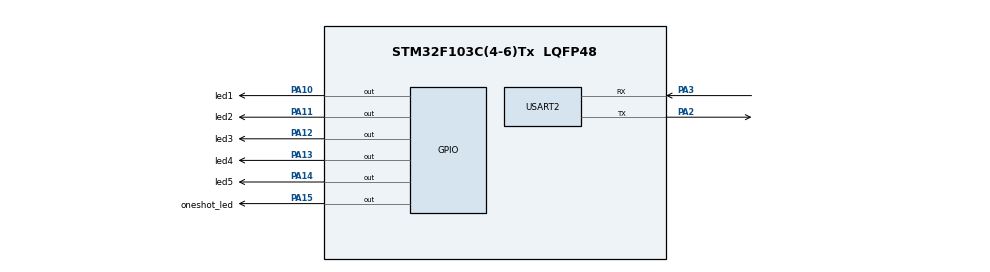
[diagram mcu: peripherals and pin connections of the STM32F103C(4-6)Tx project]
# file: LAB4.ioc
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Mcu.Family=STM32F1
Mcu.Name=STM32F103C(4-6)Tx
Mcu.Package=LQFP48
NVIC.PriorityGroup=NVIC_PRIORITYGROUP_4
NVIC.TIM2_IRQn=true\:0\:0\:false\:false\:true\:true\:true
NVIC.USART2_IRQn=true\:0\:0\:false\:false\:true\:true\:true
PA10.GPIO_Label=led1
PA10.Signal=GPIO_Output
PA11.GPIO_Label=led2
PA11.Signal=GPIO_Output
PA12.GPIO_Label=led3
PA12.Signal=GPIO_Output
PA13.GPIO_Label=led4
PA13.Signal=GPIO_Output
PA14.GPIO_Label=led5
PA14.Signal=GPIO_Output
PA15.GPIO_Label=oneshot_led
PA15.Signal=GPIO_Output
PA2.Mode=Asynchronous
PA2.Signal=USART2_TX
PA3.Mode=Asynchronous
PA3.Signal=USART2_RX
ProjectManager.HeapSize=0x200
ProjectManager.StackSize=0x400
ProjectManager.TargetToolchain=STM32CubeIDE
RCC.APB1Freq_Value=8000000
RCC.APB2Freq_Value=8000000
TIM2.Period=9
TIM2.Prescaler=7999
USART2.VirtualMode=VM_ASYNC
VP_SYS_VS_ND.Mode=No_Debug
VP_TIM2_VS_ClockSourceINT.Mode=Internal
board=custom

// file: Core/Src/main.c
/* USER CODE BEGIN Header */
/**
  ******************************************************************************
  * @file           : main.c
  * @brief          : Main program body
  ******************************************************************************
  * @attention
  *
  * <h2><center>&copy; Copyright (c) 2026 STMicroelectronics.
  * All rights reserved.</center></h2>
  *
  * This software component is licensed by ST under BSD 3-Clause license,
  * the "License"; You may not use this file except in compliance with the
  * License. You may obtain a copy of the License at:
  *                        opensource.org/licenses/BSD-3-Clause
  *
  ******************************************************************************
  */
/* USER CODE END Header */
#include "main.h"

/* USER CODE BEGIN Includes */
#include "scheduler.h"
#include <stdio.h>
/* USER CODE END Includes */

TIM_HandleTypeDef htim2;

UART_HandleTypeDef huart2;

void SystemClock_Config(void);
static void MX_GPIO_Init(void);
static void MX_TIM2_Init(void);
static void MX_USART2_UART_Init(void);

/* USER CODE BEGIN 0 */
//uint32_t id_to_delete = 0;

/* Retarget printf to UART2 */
#ifdef __GNUC__
#define PUTCHAR_PROTOTYPE int __io_putchar(int ch)
#else
#define PUTCHAR_PROTOTYPE int fputc(int ch, FILE *f)
#endif

PUTCHAR_PROTOTYPE
{
  HAL_UART_Transmit(&huart2, (uint8_t *)&ch, 1, HAL_MAX_DELAY);
  return ch;
}

/* in ra moi 10ms */
static void Task_10ms(void) {
    printf("[%lu ms] Tick 10ms\r\n", get_time());
}

/* Các hàm tác vụ định kỳ 0.5s đến 2.5s */
static void Task_0_5s(void) {
    HAL_GPIO_TogglePin(led1_GPIO_Port, led1_Pin);
    printf("[%lu ms] Task 0.5s running\r\n", get_time());
}

static void Task_1_0s(void) {
    HAL_GPIO_TogglePin(led2_GPIO_Port, led2_Pin);
    printf("[%lu ms] Task 1.0s running\r\n", get_time());
}

static void Task_1_5s(void) {
    HAL_GPIO_TogglePin(led1_GPIO_Port, led3_Pin);
    printf("[%lu ms] Task 1.5s running\r\n", get_time());
}

static void Task_2_0s(void) {
    HAL_GPIO_TogglePin(led2_GPIO_Port, led4_Pin);
    printf("[%lu ms] Task 2.0s running\r\n", get_time());
}

static void Task_2_5s(void) {
    HAL_GPIO_TogglePin(led1_GPIO_Port, led5_Pin);
    printf("[%lu ms] Task 2.5s running\r\n", get_time());
}

/* One-shot task */
static void Task_OneShot(void) {
	HAL_GPIO_TogglePin(led1_GPIO_Port, oneshot_led_Pin);
    printf("[%lu ms] --> ONE SHOT TASK TRIGGERED! <--\r\n", get_time());
}
/* USER CODE END 0 */

int main(void)
{

  /* MCU Configuration--------------------------------------------------------*/

  /* Reset of all peripherals, Initializes the Flash interface and the Systick. */
  HAL_Init();

  /* Configure the system clock */
  SystemClock_Config();

  /* Initialize all configured peripherals */
  MX_GPIO_Init();
  MX_TIM2_Init();
  MX_USART2_UART_Init();
  /* USER CODE BEGIN 2 */

  SCH_Init();
  printf("--- MCU SCHEDULER STARTING ---\r\n");
  SCH_Add_Task(Task_10ms, 0, 1);
  SCH_Add_Task(Task_0_5s, 50, 50);
  SCH_Add_Task(Task_1_0s, 100, 100);
  SCH_Add_Task(Task_1_5s, 150, 150);
  SCH_Add_Task(Task_2_0s, 200, 200);
  SCH_Add_Task(Task_2_5s, 250, 250);
  SCH_Add_Task(Task_OneShot, 300, 0);
  HAL_TIM_Base_Start_IT(&htim2);                     /* Bắt đầu kích hoạt Timer ngắt 10ms */
  /* USER CODE END 2 */

  /* Infinite loop */
  /* USER CODE BEGIN WHILE */
  while (1)
  {
	  SCH_Dispatch_Tasks();
    /* USER CODE END WHILE */

  }
}

void SystemClock_Config(void)
{
  RCC_OscInitTypeDef RCC_OscInitStruct = {0};
  RCC_ClkInitTypeDef RCC_ClkInitStruct = {0};

  /** Initializes the RCC Oscillators according to the specified parameters
  * in the RCC_OscInitTypeDef structure.
  */
  RCC_OscInitStruct.OscillatorType = RCC_OSCILLATORTYPE_HSI;
  RCC_OscInitStruct.HSIState = RCC_HSI_ON;
  RCC_OscInitStruct.HSICalibrationValue = RCC_HSICALIBRATION_DEFAULT;
  RCC_OscInitStruct.PLL.PLLState = RCC_PLL_NONE;
  if (HAL_RCC_OscConfig(&RCC_OscInitStruct) != HAL_OK)
  {
    Error_Handler();
  }
  /** Initializes the CPU, AHB and APB buses clocks
  */
  RCC_ClkInitStruct.ClockType = RCC_CLOCKTYPE_HCLK|RCC_CLOCKTYPE_SYSCLK
                              |RCC_CLOCKTYPE_PCLK1|RCC_CLOCKTYPE_PCLK2;
  RCC_ClkInitStruct.SYSCLKSource = RCC_SYSCLKSOURCE_HSI;
  RCC_ClkInitStruct.AHBCLKDivider = RCC_SYSCLK_DIV1;
  RCC_ClkInitStruct.APB1CLKDivider = RCC_HCLK_DIV1;
  RCC_ClkInitStruct.APB2CLKDivider = RCC_HCLK_DIV1;

  if (HAL_RCC_ClockConfig(&RCC_ClkInitStruct, FLASH_LATENCY_0) != HAL_OK)
  {
    Error_Handler();
  }
}

static void MX_TIM2_Init(void)
{

  TIM_ClockConfigTypeDef sClockSourceConfig = {0};
  TIM_MasterConfigTypeDef sMasterConfig = {0};

  htim2.Instance = TIM2;
  htim2.Init.Prescaler = 7999;
  htim2.Init.CounterMode = TIM_COUNTERMODE_UP;
  htim2.Init.Period = 9;
  htim2.Init.ClockDivision = TIM_CLOCKDIVISION_DIV1;
  htim2.Init.AutoReloadPreload = TIM_AUTORELOAD_PRELOAD_DISABLE;
  if (HAL_TIM_Base_Init(&htim2) != HAL_OK)
  {
    Error_Handler();
  }
  sClockSourceConfig.ClockSource = TIM_CLOCKSOURCE_INTERNAL;
  if (HAL_TIM_ConfigClockSource(&htim2, &sClockSourceConfig) != HAL_OK)
  {
    Error_Handler();
  }
  sMasterConfig.MasterOutputTrigger = TIM_TRGO_RESET;
  sMasterConfig.MasterSlaveMode = TIM_MASTERSLAVEMODE_DISABLE;
  if (HAL_TIMEx_MasterConfigSynchronization(&htim2, &sMasterConfig) != HAL_OK)
  {
    Error_Handler();
  }

}

static void MX_USART2_UART_Init(void)
{

  huart2.Instance = USART2;
  huart2.Init.BaudRate = 115200;
  huart2.Init.WordLength = UART_WORDLENGTH_8B;
  huart2.Init.StopBits = UART_STOPBITS_1;
  huart2.Init.Parity = UART_PARITY_NONE;
  huart2.Init.Mode = UART_MODE_TX_RX;
  huart2.Init.HwFlowCtl = UART_HWCONTROL_NONE;
  huart2.Init.OverSampling = UART_OVERSAMPLING_16;
  if (HAL_UART_Init(&huart2) != HAL_OK)
  {
    Error_Handler();
  }

}

static void MX_GPIO_Init(void)
{
  GPIO_InitTypeDef GPIO_InitStruct = {0};

  /* GPIO Ports Clock Enable */
  __HAL_RCC_GPIOA_CLK_ENABLE();

  /*Configure GPIO pin Output Level */
  HAL_GPIO_WritePin(GPIOA, led1_Pin|led2_Pin|led3_Pin|led4_Pin
                          |led5_Pin|oneshot_led_Pin, GPIO_PIN_RESET);

  /*Configure GPIO pins : led1_Pin led2_Pin led3_Pin led4_Pin
                           led5_Pin oneshot_led_Pin */
  GPIO_InitStruct.Pin = led1_Pin|led2_Pin|led3_Pin|led4_Pin
                          |led5_Pin|oneshot_led_Pin;
  GPIO_InitStruct.Mode = GPIO_MODE_OUTPUT_PP;
  GPIO_InitStruct.Pull = GPIO_NOPULL;
  GPIO_InitStruct.Speed = GPIO_SPEED_FREQ_LOW;
  HAL_GPIO_Init(GPIOA, &GPIO_InitStruct);

}

/* USER CODE BEGIN 4 */
void HAL_TIM_PeriodElapsedCallback(TIM_HandleTypeDef *htim){
	if (htim->Instance == TIM2) SCH_Update();
}
/* USER CODE END 4 */

void Error_Handler(void)
{
  __disable_irq();
  while (1)
  {
  }
}

/************************ (C) COPYRIGHT STMicroelectronics *****END OF FILE****/
